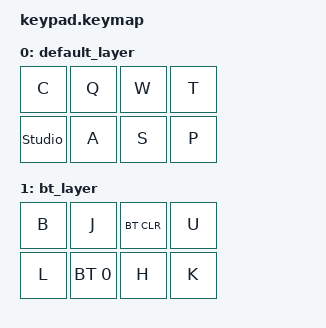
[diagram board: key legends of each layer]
/*
 * Copyright (c) 2022 The ZMK Contributors
 *
 * SPDX-License-Identifier: MIT
 */

#include <behaviors.dtsi>
#include <dt-bindings/zmk/keys.h>
#include <dt-bindings/zmk/bt.h>

/ {
    keymap {
        compatible = "zmk,keymap";

        default_layer {
            bindings = <
                &kp C          &kp Q &kp W &kp T
                &studio_unlock &kp A &kp S &kp P
            >;
        };

        bt_layer {
            bindings = <
                &kp B &kp J &bt BT_CLR &kp U
                &kp L &bt BT_SEL 0 &kp H &kp K
            >;
        };

        extra1 {
            status = "reserved";
        };

        extra2 {
            status = "reserved";
        };
    };
};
